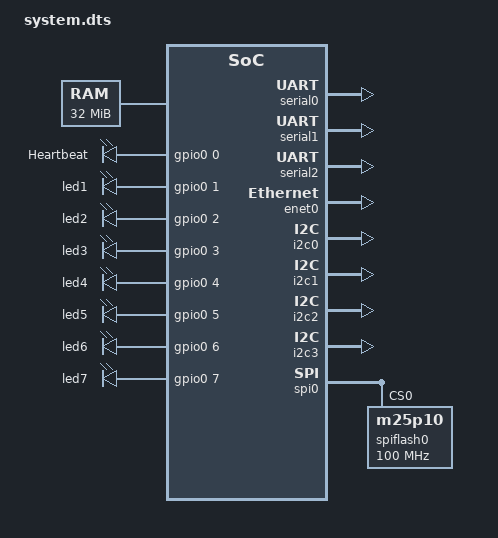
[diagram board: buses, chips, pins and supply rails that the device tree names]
/**
Format:

alias : name[@bus] {


Note that size-cells and address-cells apply values of child nodes; furthermore, 
they are not inherited, so every container with children needs to specify these
properties.

}

**/



/dts-v1/;
/ {
	compatible = "orsoc,development-board";
	#size-cells = <1>;
	#address-cells = <1>;

	chosen {
		bootargs = "console=uart,mmio,0x90000000,115200 lpj=200000 debug";
/*		bootargs = "console=uart,mmio,0x90000000,115200 lpj=200000 root=/dev/nfs rw nfsroot=172.30.0.1:/home/jonas/local/opencores/linux-2.6/arch/or32/support/rootfs,rw,nolock ip=172.30.0.2::::::"; */
	};

	/*
	 * We'll get the size of the bootmem block from lv1 after startup,
	 * so we'll put a null entry here.
	 */

	memory {
		device_type = "memory";
		reg = <0x00000000 0x2000000>;
	};

	/*
	 * The boot cpu is always zero.
	 *
	 * dtc expects a clock-frequency and timebase-frequency entries, so
	 * we'll put a null entries here.  These will be initialized after
	 * startup with data from lv1.
	 *
	 * Seems the only way currently to indicate a processor has multiple
	 * threads is with an ibm,ppc-interrupt-server#s entry.  We'll put one
	 * here so we can bring up both of ours.  See smp_setup_cpu_maps().
	 */

	/* device_type node seems to be mandatory for cpus */

	cpus {
		cpu@0 {
			compatible = "opencores,openrisc-1200";
			clock-frequency = <20000000>;
		};
	};

	/* The "soc" node */

	soc {
		/* Every node with children must specify address-cells and
		   size-cells; they are not inherited */
		#address-cells = <1>;
		#size-cells = <1>;
		device_type = "soc";
		/* Specify empty ranges here to indicates 1:1 mapping of SOC
		   addresses (device addresses) to CPU addresses */
		/*ranges;*/
		ranges = <0 0x90000000 0x30000000>;
		/* This SOC has only a single, implicit PIC, so define it
		  early and put the interrupt-parent property in the 'soc'
		 node so that it's inherited by all the children using
		  interrupts.
		*/
		interrupt-parent = <&pic>;
		/* Devices with interrupts need a 'parent', so we need to
		   define a controller */

		pic: pic@0 {
			compatible = "opencores,or1k-pic";
/*			#address-cells = <0>;*/
			#interrupt-cells = <1>;
			interrupt-controller;
		};		


		serial0: serial@0000 {
/* FIXME: device_type is still needed here... should remove requirement from of_serial driver */
			device_type = "serial";
			compatible = "opencores,uart", "ns16550a";
			reg = <0x0000 0x100>;
			interrupts = <2>;
			clock-frequency = <20000000>;
		};			

		serial1: serial@93000000 {
			device_type = "serial";
			compatible = "opencores,uart", "ns16550a";
			reg = <0x3000000 0x7>;
			interrupts = <3>;
			clock-frequency = <20000000>;
		};

		serial2: serial@94000000 {
			device_type = "serial";
			compatible = "opencores,uart", "ns16550a";
			reg = <0x4000000 0x7>;
			interrupts = <5>;
			clock-frequency = <20000000>;
		};
			

		enet0: ethoc@2000000 {
			compatible = "opencores,ethoc", "ethoc";
			reg = <0x2000000 0x53>;
			interrupts = <4>;
		};

		i2c0: ocores@a0000000 {
			compatible = "opencores,i2c-ocores";
			reg = <0x10000000 0x8>;
			interrupts = <10>;

			regstep = <1>;
			clock_khz = <20000>;

			/* Devices connected on this I2C bus get 
			 * defined here; address- and size-cells
			 * apply to these child devices
			 */	

			#address-cells = <1>;
			#size-cells = <0>;

			dummy@60 {
				compatible = "dummy";
				reg = <60>;
			};
		}; 

		i2c1: ocores@a1000000 {
			compatible = "opencores,i2c-ocores";
			reg = <0x11000000 0x8>;
			interrupts = <11>;

			regstep = <1>;
			clock_khz = <20000>;

			/* Devices connected on this I2C bus get 
			 * defined here; address- and size-cells
			 * apply to these child devices
			 */	

			#address-cells = <1>;
			#size-cells = <0>;

			test@60 {
				compatible = "dummy";
				reg = <60>;
			};

			test2@64 {
				compatible = "dummy";
				reg = <64>;
			};
		}; 

		i2c2: ocores@a2000000 {
			compatible = "opencores,i2c-ocores";
			reg = <0x12000000 0x8>;
			interrupts = <12>;

			regstep = <1>;
			clock_khz = <20000>;

			/* Devices connected on this I2C bus get 
			 * defined here; address- and size-cells
			 * apply to these child devices
			 */	

			#address-cells = <1>;
			#size-cells = <0>;
		}; 

		i2c3: ocores@a3000000 {
			compatible = "opencores,i2c-ocores";
			reg = <0x13000000 0x8>;
			interrupts = <13>;

			regstep = <1>;
			clock_khz = <20000>;

			/* Devices connected on this I2C bus get 
			 * defined here; address- and size-cells
			 * apply to these child devices
			 */	

			#address-cells = <1>;
			#size-cells = <0>;
		}; 


		spi0: spi@b0000000 {
			compatible = "opencores,spi-simple";
			reg = <0x20000000 0x5>;

			/* Devices connected on this I2C bus get 
			 * defined here; address- and size-cells
			 * apply to these child devices.  Address
			 * for child is chip-select (slave select).
			 */	

			#address-cells = <1>;
			#size-cells = <0>;

/*			mmc-spi-slot@0 {
				compatible = "mmc-spi-slot";
				reg = <0>;
				spi-max-frequency = <10000000>;
			};
*/
			spiflash0: mtd@0 {
				compatible = "m25p10";
				reg = <0>;
				spi-max-frequency = <100000000>;
			};
		};

		gpio0: gpio@1000000 {
                	compatible = "opencores,jbtrivial";
                        reg = <0x1000000 0x6>;
                        #gpio-cells = <2>;
                        gpio-controller;
			xlnx,data-offset = <3>;
			xlnx,tri-offset = <3>;
                };

                gpio-leds {
                        compatible = "gpio-leds";

                        heartbeat {
                                label = "Heartbeat";
                                gpios = <&gpio0 0 0x0>;
                                linux,default-trigger = "heartbeat";
                        };

                        led1 {
                                label = "led1";
                                gpios = <&gpio0 1 0x0>;
                        };

                        led2 {
                                label = "led2";
                                gpios = <&gpio0 2 0x0>;
                        };

                        led3 {
                                label = "led3";
                                gpios = <&gpio0 3 0x0>;
                        };

                        led4 {
                                label = "led4";
                                gpios = <&gpio0 4 0x0>;
                        };

                        led5 {
                                label = "led5";
                                gpios = <&gpio0 5 0x0>;
                        };

                        led6 {
                                label = "led6";
                                gpios = <&gpio0 6 0x0>;
                        };

                        led7 {
                                label = "led7";
                                gpios = <&gpio0 7 0x0>;
                        };
                };

	};
};
